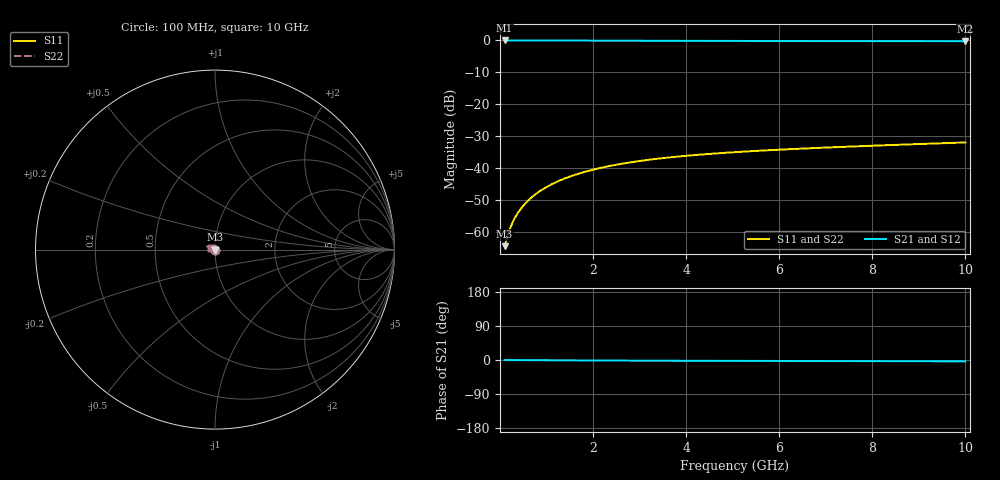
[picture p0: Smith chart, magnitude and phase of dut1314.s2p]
! Touchstone file exported from HFSS 2024.1.0
!  File:  C:/UserFiles/LocalFiles/RDL_TSV_Batchsim/temp_TSV1_1314_1780373782.aedt
!  Generated:  12:22:01 PM Jun  2, 2026
!  Design:  TSV1
!  Project:  temp_TSV1_1314_1780373782
!  Setup:  Setup1
!  Solution:  Sweep
! Variables:
!  dtsv = 5.91um
!  hbump = 3um
!  htsv = 50.92um
!  lrdl = 252.1521522um
!  p = 40
!  p1 = 40.16um
!  t = 500um
!  trdl = 3um
!  wrdl = 24.89489489um
# GHz S MA R 50.000000
! Terminal data exported
! Port[1] = TSV22_T1
! Port[2] = TSV22_T2
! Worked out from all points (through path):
!   100 points, 100 MHz to 10 GHz, reference 50 ohm
!   highest |S21| = 0.00 dB at 100 MHz (marker M1); lowest = -0.2 dB at 10 GHz (marker M2)
!   lowest |S11| = -64.6 dB at 100 MHz (marker M3), VSWR 1.00, Z = 50 - j0.0511 ohm
!   |S11| at or under -10 dB: start of sweep to end of sweep
!   |S22| runs from -64.6 to -32.0 dB; largest |S21 - S12| = 4.3e-15
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0.1  0.0005889 -60.1  0.9997 -0.1  0.9997 -0.1  0.0005889 -60.1
! Gamma 0 0 0 0
! Port Impedance 50 0 50 0
0.2  0.001049 -76.9  0.9996 -0.1  0.9996 -0.1  0.001049 -76.9
0.3  0.001539 -84.5  0.9995 -0.2  0.9995 -0.2  0.001539 -84.5
0.4  0.002038 -89.3  0.9994 -0.3  0.9994 -0.3  0.002038 -89.3
0.5  0.00254 -92.9  0.9992 -0.4  0.9992 -0.4  0.00254 -92.9
0.6  0.00304 -95.8  0.999 -0.4  0.999 -0.4  0.00304 -95.8
0.7  0.003537 -98.4  0.9988 -0.5  0.9988 -0.5  0.003537 -98.4
0.8  0.00403 -100.8  0.9986 -0.6  0.9986 -0.6  0.00403 -100.8
0.9  0.004517 -103.0  0.9983 -0.6  0.9983 -0.6  0.004517 -103.0
1.1  0.00547 -107.1  0.9977 -0.7  0.9977 -0.7  0.00547 -107.1
1.4  0.006844 -112.8  0.9966 -0.9  0.9966 -0.9  0.006844 -112.8
1.6  0.007717 -116.4  0.9958 -1.0  0.9958 -1.0  0.007717 -116.4
1.8  0.008553 -119.9  0.995 -1.1  0.995 -1.1  0.008553 -119.9
2.1  0.009737 -124.8  0.9937 -1.3  0.9937 -1.3  0.009737 -124.8
2.5  0.01118 -131.0  0.9919 -1.5  0.9919 -1.5  0.01118 -131.0
2.9  0.01249 -136.7  0.9901 -1.6  0.9901 -1.6  0.01249 -136.7
3.4  0.01393 -143.4  0.9879 -1.8  0.9879 -1.8  0.01393 -143.4
4.2  0.01589 -152.8  0.9848 -2.1  0.9848 -2.1  0.01589 -152.8
5.1  0.01771 -162.0  0.9819 -2.3  0.9819 -2.3  0.01771 -162.0
6.7  0.02036 -175.6  0.978 -2.7  0.978 -2.7  0.02036 -175.6
8.4  0.0228 173.0  0.9752 -3.1  0.9752 -3.1  0.0228 173.0
10  0.02503 164.1  0.9734 -3.5  0.9734 -3.5  0.02503 164.1
